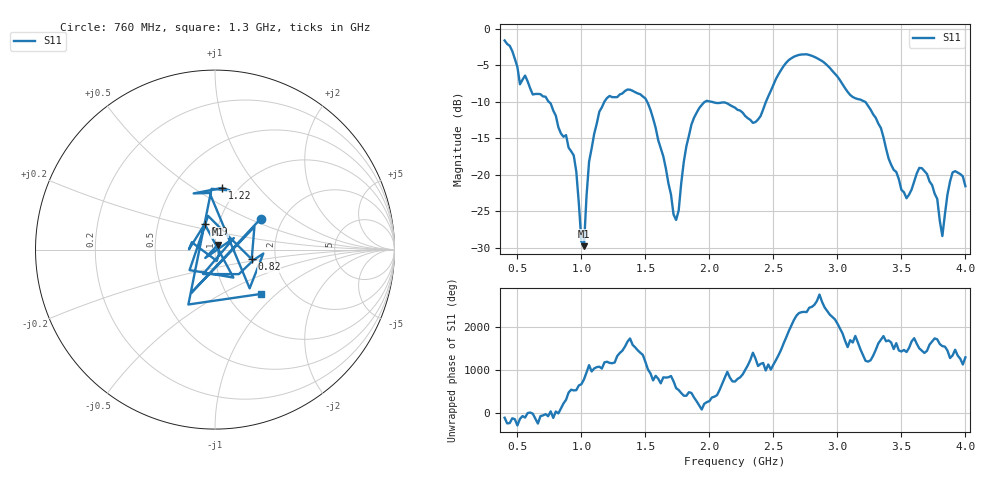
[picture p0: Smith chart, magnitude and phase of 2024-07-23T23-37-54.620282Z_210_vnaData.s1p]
!Created with skrf (http://scikit-rf.org).
# Hz S RI R 50.0
!freq ReS11 ImS11
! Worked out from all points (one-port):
!   181 points, 400 MHz to 4 GHz, reference 50 ohm
!   lowest |S11| = -29.8 dB at 1.02 GHz (marker M1), VSWR 1.07, Z = 51.6 + j2.87 ohm
!   |S11| at or under -10 dB: 1.513 GHz to 1.967 GHz (453.9 MHz wide, 26.1 % of centre); 2.012 GHz to 2.442 GHz (430.3 MHz wide, 19.3 % of centre); 3.213 GHz to end of sweep (the widest 3 of 4)
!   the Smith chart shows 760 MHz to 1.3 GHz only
!   S11 on the Smith chart (normalised r, x): 760 MHz: 1.55, +0.59; 820 MHz: 1.50, -0.17; 900 MHz: 0.86, +0.25; 1.22 GHz: 0.85, +0.66; 1.3 GHz: 1.41, -0.80
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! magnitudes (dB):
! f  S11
! 400 MHz  -1.6
! 520 MHz  -7.6
! 760 MHz  -10.2
! 820 MHz  -13.5
! 860 MHz  -14.8
! 900 MHz  -16.3
! 960 MHz  -19.6
! 1 GHz  -29.1
! 1.02 GHz  -29.8
! 1.06 GHz  -18.2
! 1.14 GHz  -11.4
! 1.22 GHz  -9.2
! 1.3 GHz  -9.0
! 1.52 GHz  -10.2
! 1.72 GHz  -25.4
! 1.76 GHz  -24.9
! 1.82 GHz  -16.1
! 1.9 GHz  -11.5
! 2.2 GHz  -10.8
! 2.36 GHz  -12.8
! 2.66 GHz  -3.9
! 3.1 GHz  -9.1
! 3.3 GHz  -12.2
! 3.56 GHz  -22.7
! 3.7 GHz  -19.9
! 3.82 GHz  -28.4
! 3.9 GHz  -19.7
! 4 GHz  -21.6
